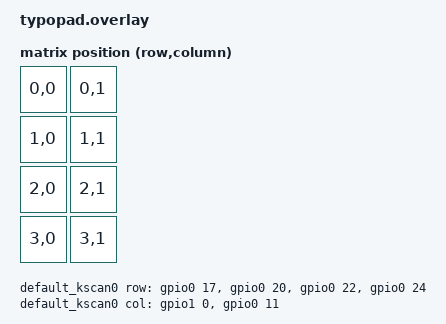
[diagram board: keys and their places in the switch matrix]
#include <dt-bindings/zmk/matrix_transform.h>
#include <zephyr/dt-bindings/gpio/gpio.h>
#include <zephyr/dt-bindings/input/input-event-codes.h>

&adc {
	status = "okay";
};

/ {
    chosen {
        zmk,kscan = &default_kscan0;
        zmk,matrix_transform = &default_transform;
        zmk,physical-layout = &physical_layout0;
    };

    default_kscan0: kscan0 {
        compatible = "zmk,kscan-gpio-matrix";
        label = "default_kscan0";
        diode-direction = "col2row";
        wakeup-source;

        col-gpios
            = <&gpio1 0 GPIO_ACTIVE_HIGH>
            , <&gpio0 11 GPIO_ACTIVE_HIGH>
            ;

        row-gpios
            = <&gpio0 17 (GPIO_ACTIVE_HIGH | GPIO_PULL_DOWN)>
            , <&gpio0 20 (GPIO_ACTIVE_HIGH | GPIO_PULL_DOWN)>
            , <&gpio0 22 (GPIO_ACTIVE_HIGH | GPIO_PULL_DOWN)>
            , <&gpio0 24 (GPIO_ACTIVE_HIGH | GPIO_PULL_DOWN)>
            ;
    };

    default_transform: keymap_transform0 {
        compatible = "zmk,matrix-transform";
        columns = <2>;
        rows = <4>;
        map = <
            RC(0,0) RC(0,1)
            RC(1,0) RC(1,1)
            RC(2,0) RC(2,1)
            RC(3,0) RC(3,1)
        >;
    };

    anin0: analog_input_0 {
		compatible = "zmk,analog-input";
		sampling-hz = <100>;
		volume-up-ch {
			io-channels = <&adc 0>;
			mv-mid = <1630>;
			mv-min-max = <1600>;
			mv-deadzone = <10>;
			scale-multiplier = <1>;
			scale-divisor = <70>;
			evt-type = <INPUT_EV_KEY>;
			input-code = <INPUT_KEY_VOLUMEUP>;
		};
		
		volume-down-ch {
			io-channels = <&adc 0>;
			mv-mid = <1630>;
			mv-min-max = <1600>;
			mv-deadzone = <10>;
			scale-multiplier = <1>;
			scale-divisor = <70>;
			invert;
			evt-type = <INPUT_EV_KEY>;
			input-code = <INPUT_KEY_VOLUMEDOWN>;
		};

        physical_layout0: physical_layout_0 {
            compatible = "zmk,physical-layout";
            display-name = "LAYOUT";

            kscan = <&default_kscan0>;
            transform = <&default_transform>;

            keys  //                     w   h    x    y     rot    rx    ry
                = <&key_physical_attrs 100 100    0    0       0     0     0>
                , <&key_physical_attrs 100 100  100    0       0     0     0>
                , <&key_physical_attrs 100 100    0  100       0     0     0>
                , <&key_physical_attrs 100 100  100  100       0     0     0>
                , <&key_physical_attrs 100 100    0  200       0     0     0>
                , <&key_physical_attrs 100 100  100  200       0     0     0>
                , <&key_physical_attrs 100 100    0  300       0     0     0>
                , <&key_physical_attrs 100 100  100  300       0     0     0>
                ;
            };

        position_map {
            compatible = "zmk,physical-layout-position-map";
            complete;

            position_map0: position_map0 {
                physical-layout = <&physical_layout0>;
                positions
                = <0 1>
                , <2 3>
                , <4 5>
                , <6 7>
                ;
            };
        };
	};
};
